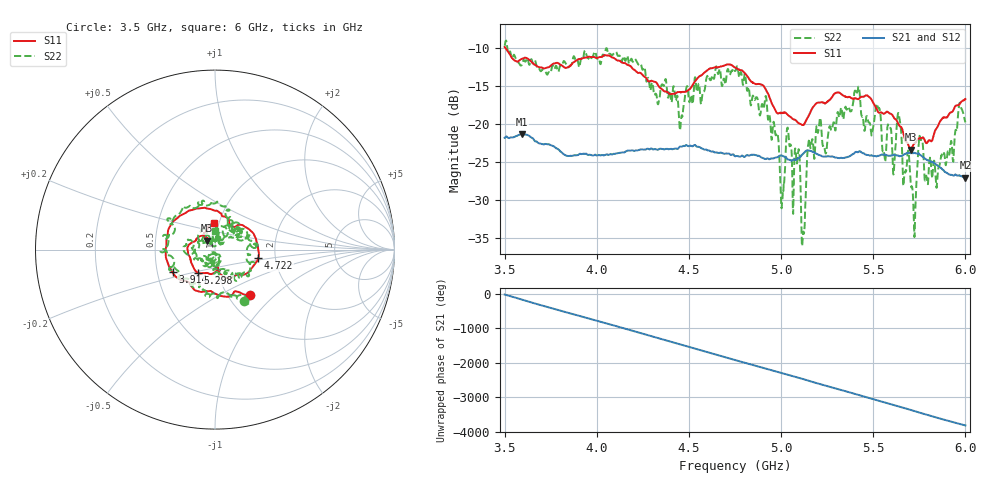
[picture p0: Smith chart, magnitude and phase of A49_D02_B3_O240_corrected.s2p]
! Created with skrf 1.9.0 (http://scikit-rf.org).
# Hz S RI R 50.0
!freq ReS11 ImS11 ReS21 ImS21 ReS12 ImS12 ReS22 ImS22
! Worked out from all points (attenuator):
!   1601 points, 3.5 GHz to 6 GHz, reference 50 ohm
!   highest |S21| = -21.33 dB at 3.592 GHz (marker M1); lowest = -27.0 dB at 6 GHz (marker M2)
!   lowest |S11| = -23.3 dB at 5.703 GHz (marker M3), VSWR 1.15, Z = 45.4 + j4.54 ohm
!   |S11| at or under -10 dB: 3.504 GHz to end of sweep
!   |S22| runs from -36.1 to -9.0 dB; largest |S21 - S12| = 0.00096
!   S11 on the Smith chart (normalised r, x): 3.5 GHz: 1.26, -0.71; 3.914 GHz: 0.60, -0.16; 4.722 GHz: 1.62, -0.17; 5.298 GHz: 0.80, -0.21; 6 GHz: 0.94, +0.28
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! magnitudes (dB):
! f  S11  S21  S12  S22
! 3.5 GHz  -9.9  -21.8  -21.8  -9.7
! 3.592 GHz  -11.4  -21.3  -21.4  -12.3
! 3.914 GHz  -11.4  -23.9  -23.9  -11.5
! 3.917 GHz  -11.4  -23.9  -23.9  -11.4
! 4.334 GHz  -15.0  -23.4  -23.3  -17.3
! 4.722 GHz  -12.2  -24.0  -23.9  -13.6
! 4.75 GHz  -12.6  -24.2  -24.2  -13.0
! 4.923 GHz  -15.8  -24.5  -24.5  -17.5
! 5.006 GHz  -18.6  -24.2  -24.1  -29.9
! 5.037 GHz  -18.8  -24.7  -24.6  -20.7
! 5.088 GHz  -19.7  -24.6  -24.6  -24.9
! 5.12 GHz  -20.1  -23.9  -23.8  -34.4
! 5.167 GHz  -18.0  -23.6  -23.6  -22.2
! 5.298 GHz  -15.9  -24.4  -24.4  -20.2
! 5.412 GHz  -16.7  -23.7  -23.7  -15.9
! 5.584 GHz  -18.5  -24.1  -24.1  -20.2
! 5.641 GHz  -20.2  -24.2  -24.2  -19.0
! 5.703 GHz  -23.3  -23.8  -23.8  -27.7
! 5.722 GHz  -22.6  -23.8  -23.8  -33.9
! 5.756 GHz  -21.9  -24.1  -24.0  -22.0
! 5.848 GHz  -20.4  -25.5  -25.4  -26.9
! 6 GHz  -16.7  -27.0  -27.0  -19.8
